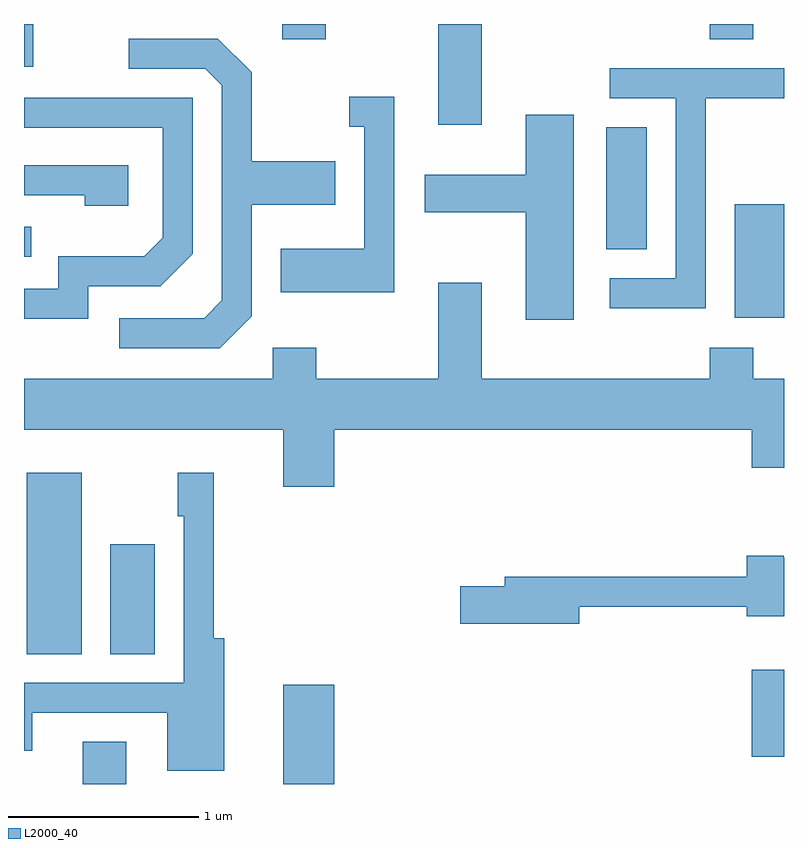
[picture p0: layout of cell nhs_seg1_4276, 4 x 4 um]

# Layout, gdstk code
import gdstk
lib = gdstk.Library(unit=1e-6, precision=1e-09)
def R(c, l, rs):  # rectangles x0, y0, x1, y1
    for r in rs: c.add(gdstk.rectangle(r[:2], r[2:], *l))
def P(c, l, *ps):  # polygons
    for p in ps: c.add(gdstk.Polygon(p, *l))
L2000_40 = (2000, 40)

nhs_seg1_4276 = lib.new_cell('nhs_seg1_4276')
R(nhs_seg1_4276, L2000_40, [(313.921,897.712,314.149,897.934), (314.976,897.712,315.244,898.234), (317.441,897.856,317.611,898.314), (313.626,898.396,313.914,899.349), (314.066,898.396,314.299,898.974), (317.351,900.166,317.611,900.764), (313.611,900.486,313.648,900.644), (316.676,900.526,316.889,901.169), (315.791,901.181,316.019,901.712), (313.611,901.486,313.659,901.712), (314.971,901.631,315.199,901.712), (317.221,901.631,317.449,901.712)])
P(nhs_seg1_4276, L2000_40, [(314.809,900.174),(314.809,900.761),(315.249,900.761),(315.249,900.989),(314.809,900.989),(314.809,901.457),(314.632,901.634),(314.163,901.634),(314.163,901.476),(314.564,901.476),(314.651,901.389),(314.651,900.257),(314.559,900.164),(314.113,900.164),(314.113,900.006),(314.642,900.006)],
  [(317.199,901.321),(317.611,901.321),(317.611,901.479),(316.693,901.479),(316.693,901.321),(317.041,901.321),(317.041,900.374),(316.693,900.374),(316.693,900.216),(317.199,900.216)],
  [(315.559,901.329),(315.323,901.329),(315.323,901.171),(315.401,901.171),(315.401,900.529),(314.961,900.529),(314.961,900.301),(315.559,900.301)],
  [(313.949,900.331),(314.327,900.331),(314.499,900.504),(314.499,901.324),(313.611,901.324),(313.611,901.166),(314.341,901.166),(314.341,900.587),(314.244,900.489),(313.791,900.489),(313.791,900.319),(313.611,900.319),(313.611,900.161),(313.949,900.161)],
  [(316.504,901.234),(316.251,901.234),(316.251,900.919),(315.721,900.919),(315.721,900.721),(316.251,900.721),(316.251,900.156),(316.504,900.156)],
  [(314.159,900.969),(313.611,900.969),(313.611,900.811),(313.931,900.811),(313.931,900.756),(314.159,900.756)],
  [(315.244,899.576),(317.441,899.576),(317.441,899.376),(317.611,899.376),(317.611,899.844),(317.449,899.844),(317.449,900.009),(317.221,900.009),(317.221,899.844),(316.019,899.844),(316.019,900.349),(315.791,900.349),(315.791,899.844),(315.149,899.844),(315.149,900.009),(314.921,900.009),(314.921,899.844),(313.611,899.844),(313.611,899.576),(314.976,899.576),(314.976,899.276),(315.244,899.276)],
  [(314.664,898.479),(314.609,898.479),(314.609,899.349),(314.421,899.349),(314.421,899.121),(314.451,899.121),(314.451,898.244),(313.611,898.244),(313.611,897.888),(313.654,897.888),(313.654,898.086),(314.366,898.086),(314.366,897.781),(314.664,897.781)],
  [(316.534,898.646),(317.416,898.646),(317.416,898.596),(317.611,898.596),(317.611,898.904),(317.61,898.904),(317.61,898.914),(317.416,898.914),(317.416,898.804),(316.141,898.804),(316.141,898.754),(315.906,898.754),(315.906,898.556),(316.534,898.556)])

lib.write_gds('nhs_seg1_4276.gds')
